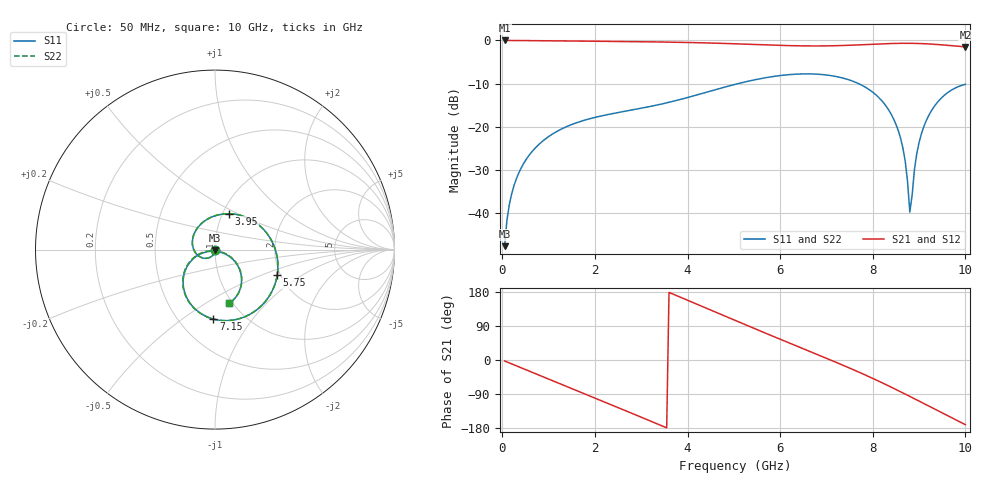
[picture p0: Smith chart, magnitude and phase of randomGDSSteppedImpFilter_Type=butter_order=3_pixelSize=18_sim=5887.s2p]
! freq	dB(S11)	phase(S11)	dB(S12)	phase(S12)
!  dB(S21)	phase(S21)	dB(S22)	phase(S22)
!S-par simulation data
#  GHz  S  DB  R 50
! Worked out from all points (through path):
!   200 points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, 50 MHz to 10 GHz, reference 50 ohm
!   highest |S21| = -0.01 dB at 50 MHz (marker M1); lowest = -1.5 dB at 10 GHz (marker M2)
!   group delay of S21, straight-line fit = 145 ps
!   lowest |S11| = -47.7 dB at 50 MHz (marker M3), VSWR 1.01, Z = 50 - j0.413 ohm
!   |S11| at or under -10 dB: start of sweep to 5.093 GHz; 7.692 GHz to end of sweep
!   |S22| runs from -47.7 to -7.8 dB; largest |S21 - S12| = 0
!   S11 on the Smith chart (normalised r, x): 50 MHz: 1.00, -0.01; 3.95 GHz: 1.07, +0.45; 5.75 GHz: 1.92, -0.64; 7.15 GHz: 0.73, -0.66; 10 GHz: 0.96, -0.64
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0.05  -47.68 -88.7  -0.01 -2.6  -0.01 -2.6  -47.68 -88.7
0.1  -41.67 -93.2  -0.01 -5.1  -0.01 -5.1  -41.67 -93.2
0.2  -35.67 -99.4  -0.02 -10.1  -0.02 -10.1  -35.67 -99.3
0.5  -27.84 -115.4  -0.04 -25.2  -0.04 -25.2  -27.84 -115.3
1.15  -21.26 -148.9  -0.10 -57.8  -0.10 -57.8  -21.26 -148.6
1.75  -18.56 -179.4  -0.16 -87.8  -0.16 -87.8  -18.56 -179.0
2.5  -16.72 142.6  -0.24 -125.6  -0.24 -125.6  -16.72 143.2
3.4  -14.83 96.7  -0.36 -171.4  -0.36 -171.4  -14.84 97.4
3.95  -13.38 68.7  -0.46 160.3  -0.46 160.3  -13.38 69.2
5.05  -10.12 12.7  -0.79 103.4  -0.79 103.4  -10.12 12.8
5.75  -8.53 -22.3  -1.06 67.5  -1.06 67.5  -8.53 -22.4
6.7  -7.77 -69.1  -1.28 19.7  -1.28 19.7  -7.77 -69.4
7.15  -8.25 -91.3  -1.23 -3.2  -1.23 -3.2  -8.25 -91.7
7.75  -10.30 -121.8  -1.01 -34.7  -1.01 -34.7  -10.31 -122.4
8.35  -16.23 -153.5  -0.73 -68.8  -0.73 -68.8  -16.24 -154.7
8.65  -24.90 -165.1  -0.66 -86.8  -0.66 -86.8  -24.98 -168.3
8.75  -32.57 -157.4  -0.66 -93.0  -0.66 -93.0  -32.98 -164.3
8.8  -39.78 -117.7  -0.67 -96.1  -0.67 -96.1  -42.30 -125.9
8.95  -26.24 -23.3  -0.70 -105.4  -0.70 -105.4  -26.31 -20.2
9.1  -20.05 -26.7  -0.75 -114.7  -0.75 -114.7  -20.07 -25.4
9.45  -13.69 -44.9  -0.98 -136.5  -0.98 -136.5  -13.70 -44.5
10  -10.17 -75.3  -1.50 -170.7  -1.50 -170.7  -10.19 -75.4
